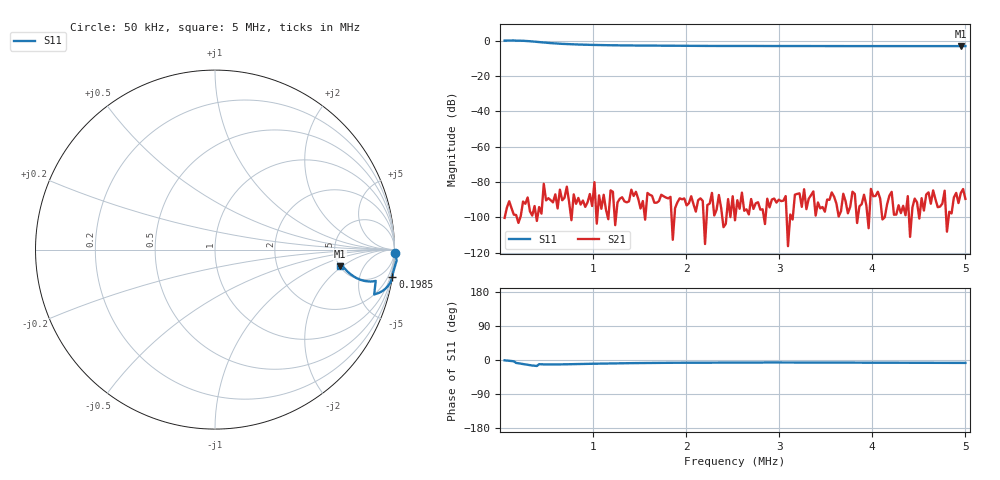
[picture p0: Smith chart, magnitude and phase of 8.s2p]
! NanoVNA-App by OneOfEleven et al v1.1.209 (+OD15)
! Date: 2024-07-30 12:37:14
! Start: 50kHz Stop: 5MHz Points: 201
! S-Parameter data: F S11 S21 S12 S22
# Hz S RI R 50
!  Frequency  S11_Real  S11_Imag  S21_Real  S21_Imag  S12_Real  S12_Imag  S22_Real  S22_Imag
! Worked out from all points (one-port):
!   201 points, 50 kHz to 5 MHz, reference 50 ohm
!   lowest |S11| = -3.1 dB at 4.95 MHz (marker M1), VSWR 5.69, Z = 249 - j91.7 ohm
!   |S11| at or under -10 dB: nowhere
!   S11 on the Smith chart (normalised r, x): 50 kHz: open; 198.5 kHz: 0, -13; 5 MHz: 4.99, -1.85
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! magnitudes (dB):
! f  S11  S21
! 50 kHz  0.0  -100.4
! 74.75 kHz  0.0  -94.5
! 149 kHz  0.1  -98.5
! 173.8 kHz  0.0  -98.7
! 198.5 kHz  0.0  -103.2
! 248 kHz  -0.1  -91.1
! 297.5 kHz  -0.2  -88.8
! 396.5 kHz  -0.7  -102.1
! 520.2 kHz  -1.3  -89.2
! 619.2 kHz  -1.7  -95.0
! 743 kHz  -2.0  -91.4
! 891.5 kHz  -2.3  -90.5
! 1.015 MHz  -2.4  -80.1
! 1.238 MHz  -2.6  -104.5
! 1.51 MHz  -2.8  -95.1
! 1.708 MHz  -2.9  -90.8
! 2.03 MHz  -3.0  -92.0
! 2.525 MHz  -3.0  -101.7
! 3.366 MHz  -3.1  -85.4
! 4.183 MHz  -3.1  -87.8
! 4.95 MHz  -3.1  -86.3
! 5 MHz  -3.1  -89.6
